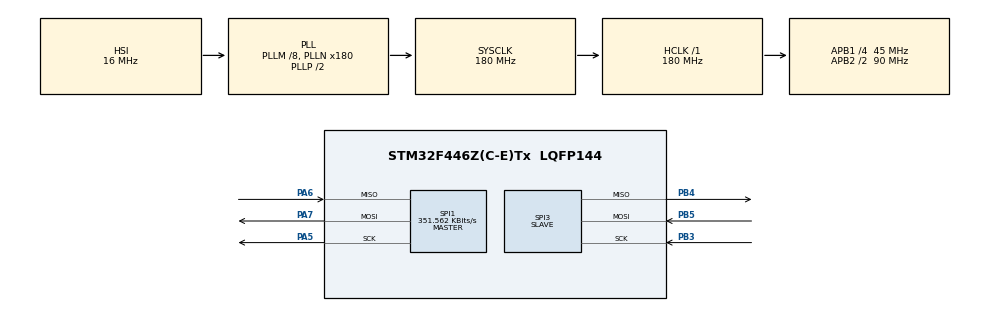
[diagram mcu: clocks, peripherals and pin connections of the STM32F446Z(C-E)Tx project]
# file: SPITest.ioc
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Mcu.Family=STM32F4
Mcu.Name=STM32F446Z(C-E)Tx
Mcu.Package=LQFP144
NVIC.PriorityGroup=NVIC_PRIORITYGROUP_4
NVIC.SPI3_IRQn=true\:1\:0\:true\:false\:true\:true\:true
PA5.GPIO_PuPd=GPIO_PULLDOWN
PA5.Mode=Full_Duplex_Master
PA5.Signal=SPI1_SCK
PA6.GPIO_PuPd=GPIO_PULLDOWN
PA6.Mode=Full_Duplex_Master
PA6.Signal=SPI1_MISO
PA7.GPIO_PuPd=GPIO_PULLDOWN
PA7.Mode=Full_Duplex_Master
PA7.Signal=SPI1_MOSI
PB3.Mode=Full_Duplex_Slave
PB3.Signal=SPI3_SCK
PB4.Mode=Full_Duplex_Slave
PB4.Signal=SPI3_MISO
PB5.Mode=Full_Duplex_Slave
PB5.Signal=SPI3_MOSI
PE2.GPIO_PuPd=GPIO_PULLUP
PE2.Signal=SPI4_SCK
PE5.GPIO_PuPd=GPIO_PULLUP
PE5.Signal=SPI4_MISO
PE6.GPIO_PuPd=GPIO_PULLUP
PE6.Signal=SPI4_MOSI
ProjectManager.HeapSize=0x200
ProjectManager.StackSize=0x400
ProjectManager.TargetToolchain=STM32CubeIDE
RCC.AHBFreq_Value=180000000
RCC.APB1CLKDivider=RCC_HCLK_DIV4
RCC.APB1Freq_Value=45000000
RCC.APB1TimFreq_Value=90000000
RCC.APB2CLKDivider=RCC_HCLK_DIV2
RCC.APB2Freq_Value=90000000
RCC.APB2TimFreq_Value=180000000
RCC.CortexFreq_Value=180000000
RCC.HCLKFreq_Value=180000000
RCC.PLLM=8
RCC.PLLN=180
RCC.SYSCLKFreq_VALUE=180000000
RCC.SYSCLKSource=RCC_SYSCLKSOURCE_PLLCLK
RCC.USBFreq_Value=180000000
RCC.VCOOutputFreq_Value=360000000
SPI1.BaudRatePrescaler=SPI_BAUDRATEPRESCALER_256
SPI1.CalculateBaudRate=351.562 KBits/s
SPI1.Direction=SPI_DIRECTION_2LINES
SPI1.Mode=SPI_MODE_MASTER
SPI1.VirtualType=VM_MASTER
SPI3.Direction=SPI_DIRECTION_2LINES
SPI3.Mode=SPI_MODE_SLAVE
SPI3.VirtualType=VM_SLAVE
board=custom

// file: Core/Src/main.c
/* USER CODE BEGIN Header */
/**
  ******************************************************************************
  * @file           : main.c
  * @brief          : Main program body
  ******************************************************************************
  * @attention
  *
  * <h2><center>&copy; Copyright (c) 2019 STMicroelectronics.
  * All rights reserved.</center></h2>
  *
  * This software component is licensed by ST under BSD 3-Clause license,
  * the "License"; You may not use this file except in compliance with the
  * License. You may obtain a copy of the License at:
  *                        opensource.org/licenses/BSD-3-Clause
  *
  ******************************************************************************
  */
/* USER CODE END Header */

#include "main.h"

/* USER CODE BEGIN Includes */
#include <string.h>
/* USER CODE END Includes */

SPI_HandleTypeDef hspi1;
SPI_HandleTypeDef hspi3;

void SystemClock_Config(void);
static void MX_GPIO_Init(void);
static void MX_SPI1_Init(void);
static void MX_SPI3_Init(void);

/* USER CODE BEGIN 0 */
#define BUFSIZ 10
__IO uint8_t Spi1TxBuf[] = {0,1,2,3,4,5,6,7,8,9};
__IO uint8_t Spi1RxBuf[BUFSIZ];
__IO uint8_t Spi3TxBuf[] = {9,8,7,6,5,4,3,2,1,0};
__IO uint8_t Spi3RxBuf[BUFSIZ];
__IO uint8_t Spi4TxBuf[] = {10,11,12,13,14,15,16,17,18,19};
__IO uint8_t Spi4RxBuf[BUFSIZ];
__IO uint8_t Done;
/* USER CODE END 0 */

int main(void)
{

  /* MCU Configuration--------------------------------------------------------*/

  /* Reset of all peripherals, Initializes the Flash interface and the Systick. */
  HAL_Init();

  /* Configure the system clock */
  SystemClock_Config();

  /* Initialize all configured peripherals */
  MX_GPIO_Init();
  MX_SPI1_Init();
  MX_SPI3_Init();

  /* Infinite loop */
  while (1)
  {

    /* USER CODE BEGIN 3 */
	  memset((uint8_t*)Spi3RxBuf, 0, BUFSIZ);
	  Done = 0;
	  if (HAL_SPI_Receive_IT(&hspi3, (uint8_t*)Spi3RxBuf, BUFSIZ) != HAL_OK) {
		  Error_Handler();
	  }
	  if (HAL_SPI_Transmit(&hspi1, (uint8_t*)Spi1TxBuf, BUFSIZ, 1000) != HAL_OK) {
		  Error_Handler();
	  }
	  while (Done == 0)
		  ;
	  __NOP();

  }
  /* USER CODE END 3 */
}

void SystemClock_Config(void)
{
  RCC_OscInitTypeDef RCC_OscInitStruct = {0};
  RCC_ClkInitTypeDef RCC_ClkInitStruct = {0};

  /** Configure the main internal regulator output voltage
  */
  __HAL_RCC_PWR_CLK_ENABLE();
  __HAL_PWR_VOLTAGESCALING_CONFIG(PWR_REGULATOR_VOLTAGE_SCALE1);
  /** Initializes the CPU, AHB and APB busses clocks
  */
  RCC_OscInitStruct.OscillatorType = RCC_OSCILLATORTYPE_HSI;
  RCC_OscInitStruct.HSIState = RCC_HSI_ON;
  RCC_OscInitStruct.HSICalibrationValue = RCC_HSICALIBRATION_DEFAULT;
  RCC_OscInitStruct.PLL.PLLState = RCC_PLL_ON;
  RCC_OscInitStruct.PLL.PLLSource = RCC_PLLSOURCE_HSI;
  RCC_OscInitStruct.PLL.PLLM = 8;
  RCC_OscInitStruct.PLL.PLLN = 180;
  RCC_OscInitStruct.PLL.PLLP = RCC_PLLP_DIV2;
  RCC_OscInitStruct.PLL.PLLQ = 2;
  RCC_OscInitStruct.PLL.PLLR = 2;
  if (HAL_RCC_OscConfig(&RCC_OscInitStruct) != HAL_OK)
  {
    Error_Handler();
  }
  /** Activate the Over-Drive mode
  */
  if (HAL_PWREx_EnableOverDrive() != HAL_OK)
  {
    Error_Handler();
  }
  /** Initializes the CPU, AHB and APB busses clocks
  */
  RCC_ClkInitStruct.ClockType = RCC_CLOCKTYPE_HCLK|RCC_CLOCKTYPE_SYSCLK
                              |RCC_CLOCKTYPE_PCLK1|RCC_CLOCKTYPE_PCLK2;
  RCC_ClkInitStruct.SYSCLKSource = RCC_SYSCLKSOURCE_PLLCLK;
  RCC_ClkInitStruct.AHBCLKDivider = RCC_SYSCLK_DIV1;
  RCC_ClkInitStruct.APB1CLKDivider = RCC_HCLK_DIV4;
  RCC_ClkInitStruct.APB2CLKDivider = RCC_HCLK_DIV2;

  if (HAL_RCC_ClockConfig(&RCC_ClkInitStruct, FLASH_LATENCY_5) != HAL_OK)
  {
    Error_Handler();
  }
}

static void MX_SPI1_Init(void)
{

  /* SPI1 parameter configuration*/
  hspi1.Instance = SPI1;
  hspi1.Init.Mode = SPI_MODE_MASTER;
  hspi1.Init.Direction = SPI_DIRECTION_2LINES;
  hspi1.Init.DataSize = SPI_DATASIZE_8BIT;
  hspi1.Init.CLKPolarity = SPI_POLARITY_LOW;
  hspi1.Init.CLKPhase = SPI_PHASE_1EDGE;
  hspi1.Init.NSS = SPI_NSS_SOFT;
  hspi1.Init.BaudRatePrescaler = SPI_BAUDRATEPRESCALER_256;
  hspi1.Init.FirstBit = SPI_FIRSTBIT_MSB;
  hspi1.Init.TIMode = SPI_TIMODE_DISABLE;
  hspi1.Init.CRCCalculation = SPI_CRCCALCULATION_DISABLE;
  hspi1.Init.CRCPolynomial = 10;
  if (HAL_SPI_Init(&hspi1) != HAL_OK)
  {
    Error_Handler();
  }

}

static void MX_SPI3_Init(void)
{

  /* SPI3 parameter configuration*/
  hspi3.Instance = SPI3;
  hspi3.Init.Mode = SPI_MODE_SLAVE;
  hspi3.Init.Direction = SPI_DIRECTION_2LINES;
  hspi3.Init.DataSize = SPI_DATASIZE_8BIT;
  hspi3.Init.CLKPolarity = SPI_POLARITY_LOW;
  hspi3.Init.CLKPhase = SPI_PHASE_1EDGE;
  hspi3.Init.NSS = SPI_NSS_SOFT;
  hspi3.Init.FirstBit = SPI_FIRSTBIT_MSB;
  hspi3.Init.TIMode = SPI_TIMODE_DISABLE;
  hspi3.Init.CRCCalculation = SPI_CRCCALCULATION_DISABLE;
  hspi3.Init.CRCPolynomial = 10;
  if (HAL_SPI_Init(&hspi3) != HAL_OK)
  {
    Error_Handler();
  }

}

static void MX_GPIO_Init(void)
{
  GPIO_InitTypeDef GPIO_InitStruct = {0};

  /* GPIO Ports Clock Enable */
  __HAL_RCC_GPIOE_CLK_ENABLE();
  __HAL_RCC_GPIOA_CLK_ENABLE();
  __HAL_RCC_GPIOB_CLK_ENABLE();

  /*Configure GPIO pins : PE2 PE5 PE6 */
  GPIO_InitStruct.Pin = GPIO_PIN_2|GPIO_PIN_5|GPIO_PIN_6;
  GPIO_InitStruct.Mode = GPIO_MODE_AF_PP;
  GPIO_InitStruct.Pull = GPIO_PULLUP;
  GPIO_InitStruct.Speed = GPIO_SPEED_FREQ_VERY_HIGH;
  GPIO_InitStruct.Alternate = GPIO_AF5_SPI4;
  HAL_GPIO_Init(GPIOE, &GPIO_InitStruct);

}

/* USER CODE BEGIN 4 */
void HAL_SPI_RxCpltCallback(SPI_HandleTypeDef *hspi)
{
	Done = 1;
}

/* USER CODE END 4 */

void Error_Handler(void)
{
  /* USER CODE BEGIN Error_Handler_Debug */
  /* User can add his own implementation to report the HAL error return state */
	while (1)
		;
  /* USER CODE END Error_Handler_Debug */
}

/************************ (C) COPYRIGHT STMicroelectronics *****END OF FILE****/
